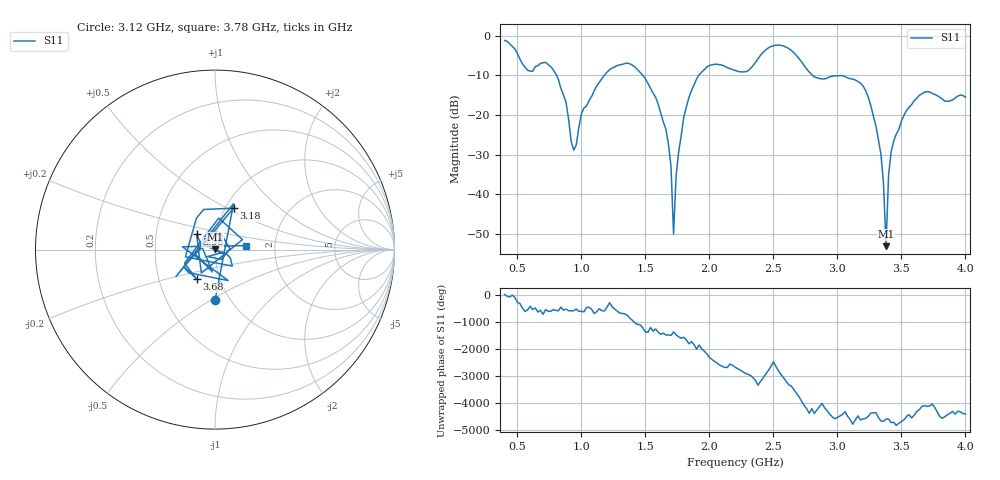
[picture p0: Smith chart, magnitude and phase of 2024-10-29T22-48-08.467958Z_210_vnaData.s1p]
!Created with skrf (http://scikit-rf.org).
# Hz S RI R 50.0
!freq ReS11 ImS11
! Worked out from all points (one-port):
!   181 points, 400 MHz to 4 GHz, reference 50 ohm
!   lowest |S11| = -53.1 dB at 3.38 GHz (marker M1), VSWR 1.00, Z = 50 + j0.217 ohm
!   |S11| at or under -10 dB: 805.8 MHz to 1.179 GHz (373.2 MHz wide, 37.6 % of centre); 1.481 GHz to 1.917 GHz (435.9 MHz wide, 25.7 % of centre); 2.806 GHz to end of sweep
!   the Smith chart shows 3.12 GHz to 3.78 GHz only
!   S11 on the Smith chart (normalised r, x): 3.12 GHz: 0.85, -0.52; 3.18 GHz: 1.09, +0.54; 3.58 GHz: 0.80, +0.14; 3.68 GHz: 0.77, -0.26; 3.78 GHz: 1.42, +0.07
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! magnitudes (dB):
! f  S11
! 400 MHz  -1.2
! 760 MHz  -7.8
! 860 MHz  -14.9
! 940 MHz  -28.9
! 1.02 GHz  -18.2
! 1.3 GHz  -7.4
! 1.6 GHz  -17.3
! 1.68 GHz  -27.3
! 1.7 GHz  -33.0
! 1.72 GHz  -50.0
! 1.74 GHz  -35.4
! 1.76 GHz  -29.2
! 1.92 GHz  -9.8
! 2.2 GHz  -8.8
! 2.66 GHz  -4.3
! 3.1 GHz  -10.8
! 3.12 GHz  -10.9
! 3.18 GHz  -11.9
! 3.34 GHz  -29.9
! 3.36 GHz  -37.1
! 3.38 GHz  -53.1
! 3.4 GHz  -35.1
! 3.42 GHz  -29.3
! 3.56 GHz  -18.1
! 3.58 GHz  -17.4
! 3.68 GHz  -14.2
! 3.78 GHz  -15.1
! 4 GHz  -15.5
